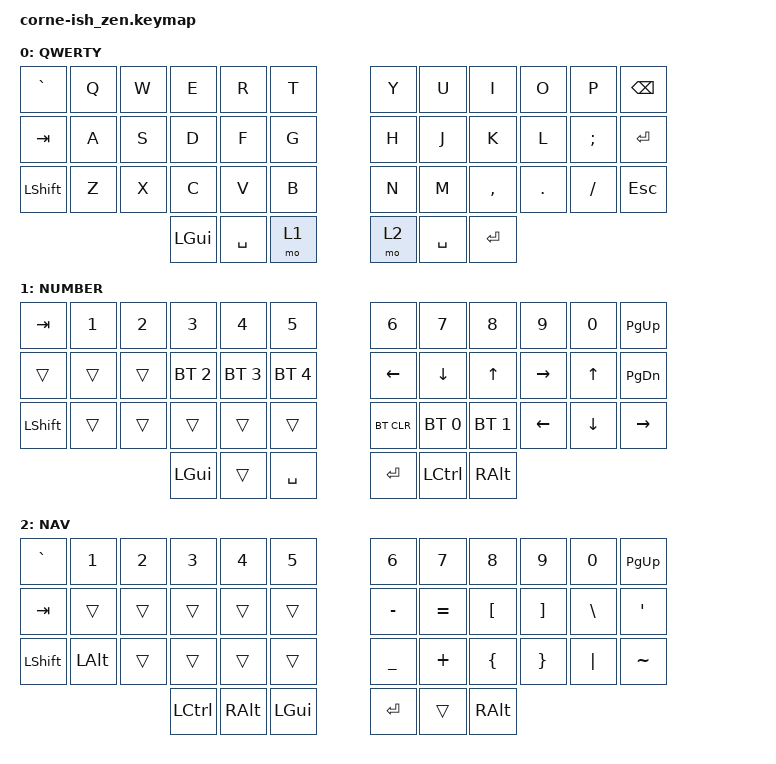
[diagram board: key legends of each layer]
/*
*
* Copyright (c) 2021 Darryl deHaan
* SPDX-License-Identifier: MIT
*
*/

#include <behaviors.dtsi>
#include <dt-bindings/zmk/keys.h>
#include <dt-bindings/zmk/bt.h>

/ {
        keymap {
                compatible = "zmk,keymap";

                default_layer {
                        label = "QWERTY";
// -----------------------------------------------------------------------------------------
// | `    |  Q  |  W  |  E  |  R  |  T  |   |  Y  |  U   |  I  |  O  |  P  | BKSP |
// | TAB  |  A  |  S  |  D  |  F  |  G  |   |  H  |  J   |  K  |  L  |  ;  |  ENT |
// | SHFT |  Z  |  X  |  C  |  V  |  B  |   |  N  |  M   |  ,  |  .  |  /  | ESC  |
//                    | GUI | SPC | LWR |   | RSE | SPC  | ENT|
                        bindings = <
   &kp GRAVE &kp Q &kp W &kp E &kp R &kp T   &kp Y &kp U  &kp I     &kp O   &kp P    &kp BSPC
   &kp TAB &kp A &kp S &kp D &kp F &kp G   &kp H &kp J  &kp K     &kp L   &kp SEMI &kp RET
   &kp LSHFT &kp Z &kp X &kp C &kp V &kp B   &kp N &kp M  &kp COMMA &kp DOT &kp FSLH &kp ESC
                  &kp LGUI &kp SPACE &mo 1    &mo 2 &kp SPACE &kp RET
                        >;
                };
                lower_layer {
                        label = "NUMBER";
// -----------------------------------------------------------------------------------------
// |  TAB |  1  |  2  |  3  |  4  |  5  |   |  6  |  7  |  8  |  9  |  0  |PG UP |
// |      |     |     |     | BT4 | BT5 |   | LFT | DWN |  UP | RGT | UP  |PG DWN|
// | SHFT |     |     |     |     |     |   |BTCLR| BT1 | BT2| LFT | DWN |  RGT |
//                    | GUI |     | SPC |   | ENT | CTL | ALT |
                        bindings = <
   &kp TAB    &kp N1       &kp N2       &kp N3       &kp N4       &kp N5         &kp N6   &kp N7   &kp N8 &kp N9    &kp N0 &kp PG_UP
   &trans     &trans       &trans       &bt BT_SEL 2 &bt BT_SEL 3 &bt BT_SEL 4   &kp LEFT &kp DOWN &kp UP &kp RIGHT &kp UP &kp PG_DN
   &kp LSHFT  &trans       &trans       &trans       &trans       &trans         &bt BT_CLR &bt BT_SEL 0 &bt BT_SEL 1 &kp LEFT &kp DOWN &kp RIGHT
                          	        &kp LGUI     &trans       &kp SPACE      &kp RET  &kp LCTRL   &kp RALT
                        >;
                };

                raise_layer {
                        label = "NAV";
// -----------------------------------------------------------------------------------------
// |  `   |  1  |  2  |  3  |  4  |  5  |   |  6  |  7  |  8  |  9  |  0  |PG UP |
// | TAB  |     |     |     |     |     |   |  -  |  =  |  [  |  ]  |  \  |  '   |
// | SHFT | ALT |     |     |     |     |   |  _  |  +  |  {  |  }  | "|" |  ~   |
//                    | CTL | ALT | GUI |   | ENT |     | ALT |
                        bindings = <
   &kp  GRAVE  &kp N1       &kp N2       &kp N3       &kp N4       &kp N5         &kp N6   &kp N7   &kp N8 &kp N9    &kp N0 &kp PG_UP
   &kp TAB &trans   &trans &trans   &trans   &trans      &kp MINUS &kp EQUAL &kp LBKT        &kp RBKT &kp BSLH &kp APOS
   &kp LSHFT &kp LALT &trans &trans   &trans   &trans      &kp UNDER &kp PLUS  &kp LBRC        &kp RBRC &kp PIPE &kp TILDE
                    	     &kp LCTRL &kp RALT &kp LGUI   &kp RET   &trans    &kp RALT
                        >;
                };
        };
};
